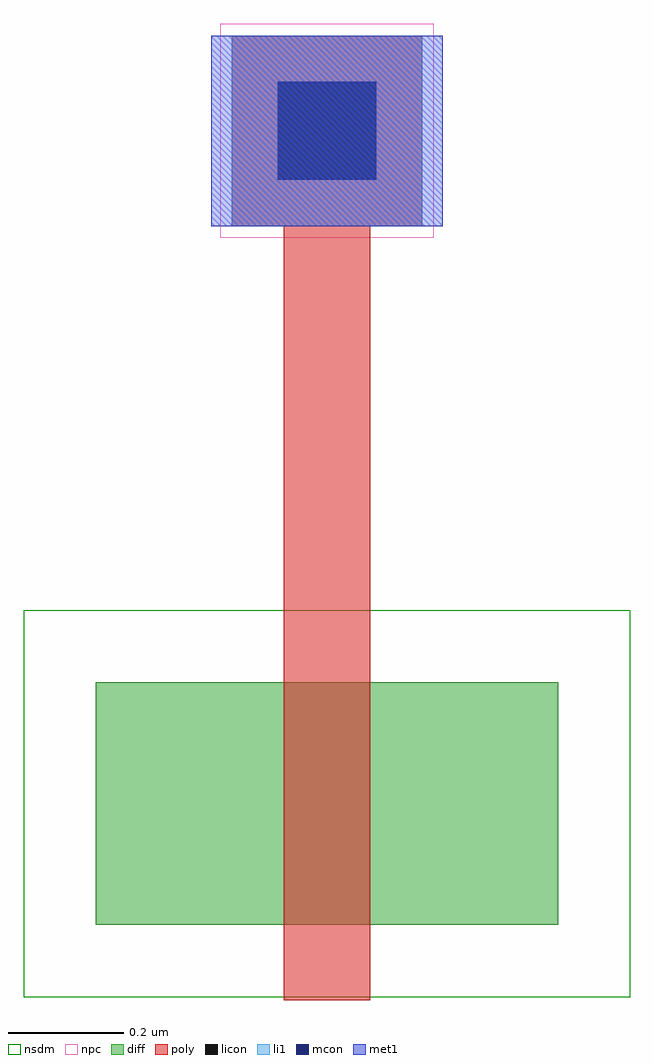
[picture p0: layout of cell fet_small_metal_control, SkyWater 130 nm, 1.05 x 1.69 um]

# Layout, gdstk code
import gdstk
lib = gdstk.Library(unit=1e-6, precision=1e-09)
def R(c, l, rs):  # rectangles x0, y0, x1, y1
    for r in rs: c.add(gdstk.rectangle(r[:2], r[2:], *l))
diff = (65, 20)
poly = (66, 20)
licon = (66, 44)
li1 = (67, 20)
mcon = (67, 44)
met1 = (68, 20)
nsdm = (93, 44)
npc = (95, 20)

fet_small_metal_control = lib.new_cell('fet_small_metal_control')
R(fet_small_metal_control, diff, [(-0.4,-0.21,0.4,0.21)])
R(fet_small_metal_control, poly, [(-0.075,-0.34,0.075,1), (-0.165,1,0.165,1.33)])
R(fet_small_metal_control, licon, [(-0.085,1.08,0.085,1.25)])
R(fet_small_metal_control, li1, [(-0.165,1,0.165,1.33)])
R(fet_small_metal_control, mcon, [(-0.085,1.08,0.085,1.25)])
R(fet_small_metal_control, met1, [(-0.2,1,0.2,1.33)])
R(fet_small_metal_control, nsdm, [(-0.525,-0.335,0.525,0.335)])
R(fet_small_metal_control, npc, [(-0.185,0.98,0.185,1.35)])

lib.write_gds('fet_small_metal_control.gds')
